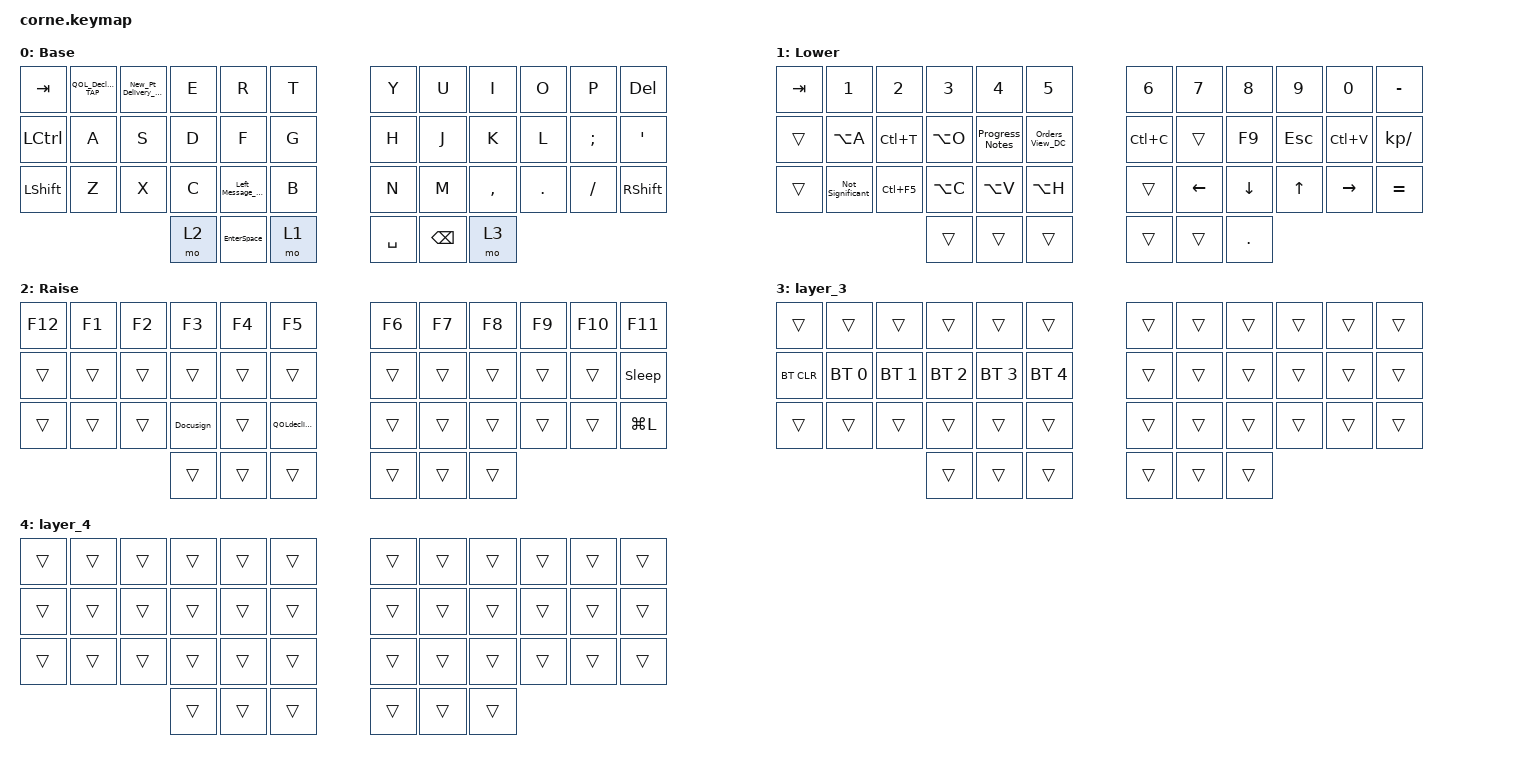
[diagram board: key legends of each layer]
/*
 * Copyright (c) 2020 The ZMK Contributors
 *
 * SPDX-License-Identifier: MIT
 */

#include <behaviors.dtsi>
#include <dt-bindings/zmk/bt.h>
#include <dt-bindings/zmk/keys.h>

/ {
    combos {
        compatible = "zmk,combos";

        ComboESC {
            bindings = <&kp ESCAPE>;
            key-positions = <2 4>;
        };

        Spoke_w_Pt_COMBO {
            bindings = <&Spoke_w_Patient>;
            key-positions = <2 38>;
            slow-release;
            timeout-ms = <10>;
        };

        screenshot {
            bindings = <&kp LG(LS(A))>;
            key-positions = <36 38>;
        };
    };

    macros {
        Left_Message: Left_Message {
            compatible = "zmk,behavior-macro";
            #binding-cells = <0>;
            bindings = <&kp LS(L) &kp E &kp F &kp T &kp SPACE &kp M &kp E &kp S &kp S &kp A &kp G &kp E &kp SPACE &kp F &kp O &kp R &kp SPACE &kp A &kp SPACE &kp C &kp A &kp L &kp L &kp SPACE &kp B &kp A &kp C &kp K &kp DOT &kp SPACE &kp LS(P) &kp R &kp O &kp V &kp I &kp D &kp E &kp D &kp SPACE &kp N8 &kp N0 &kp N0 &kp SPACE &kp C &kp A &kp L &kp L &kp SPACE &kp B &kp A &kp C &kp K &kp SPACE &kp N &kp U &kp M &kp B &kp E &kp R>;
            label = "LEFT_MESSAGE";
            wait-ms = <30>;
            tap-ms = <30>;
        };

        New_Patient_Del: New_Patient_Del {
            compatible = "zmk,behavior-macro";
            #binding-cells = <0>;
            bindings = <&kp LS(R) &kp E &kp V &kp I &kp E &kp W &kp E &kp D &kp SPACE &kp D &kp O &kp S &kp E &kp COMMA &kp SPACE &kp S &kp T &kp O &kp R &kp A &kp G &kp E &kp FSLH &kp H &kp A &kp N &kp D &kp L &kp I &kp N &kp G &kp COMMA &kp SPACE &kp C &kp O &kp M &kp M &kp O &kp N &kp SPACE &kp W &kp A &kp R &kp N &kp I &kp N &kp G &kp S &kp SPACE &kp AMPS &kp SPACE &kp S &kp I &kp D &kp E &kp SPACE &kp E &kp F &kp F &kp E &kp C &kp T &kp S &kp SPACE &kp D &kp U &kp R &kp I &kp N &kp G &kp SPACE &kp T &kp H &kp E &kp SPACE &kp C &kp A &kp L &kp L &kp DOT &kp LS(A) &kp D &kp V &kp I &kp S &kp E &kp D &kp SPACE &kp T &kp O &kp SPACE &kp F &kp O &kp L &kp L &kp O &kp W &kp SPACE &kp U &kp P &kp SPACE &kp W &kp I &kp T &kp H &kp SPACE &kp LS(M) &kp LS(D) &kp LS(O) &kp SPACE &kp O &kp N &kp C &kp E &kp SPACE &kp P &kp A &kp C &kp K &kp A &kp G &kp E &kp SPACE &kp A &kp R &kp R &kp I &kp V &kp E &kp S &kp DOT &kp SPACE>;
            label = "NEW_PATIENT_DEL";
            wait-ms = <45>;
            tap-ms = <30>;
        };

        SeeAssessment: SeeAssessment {
            compatible = "zmk,behavior-macro";
            #binding-cells = <0>;
            bindings = <&none &kp LS(S) &kp E &kp E &kp SPACE &kp A &kp S &kp S &kp E &kp S &kp S &kp M &kp E &kp N &kp T &kp LS(A)>;
            label = "SEEASSESSMENT";
            wait-ms = <30>;
            tap-ms = <30>;
        };

        QOLdeclined: QOLdeclined {
            compatible = "zmk,behavior-macro";
            #binding-cells = <0>;
            bindings = <&none &kp LS(P) &kp A &kp T &kp I &kp E &kp N &kp T &kp SPACE &kp D &kp E &kp C &kp L &kp I &kp N &kp E &kp D &kp SPACE &kp A &kp S &kp S &kp E &kp S &kp S &kp M &kp E &kp N &kp T &kp SPACE &kp A &kp N &kp D &kp SPACE &kp LS(Q) &kp LS(O) &kp LS(L) &kp S &kp SPACE &kp S &kp U &kp R &kp V &kp E &kp Y &kp SPACE &kp Q &kp U &kp E &kp S &kp T &kp I &kp O &kp N &kp S &kp SPACE &kp A &kp T &kp SPACE &kp T &kp H &kp I &kp S &kp SPACE &kp T &kp I &kp M &kp E &kp DOT &kp SPACE>;
            label = "QOLDECLINED";
            wait-ms = <30>;
            tap-ms = <30>;
        };

        Docusign: Docusign {
            compatible = "zmk,behavior-macro";
            #binding-cells = <0>;
            bindings = <&none &kp LS(P) &kp L &kp E &kp A &kp S &kp E &kp SPACE &kp R &kp E &kp V &kp I &kp E &kp W &kp SPACE &kp LS(B) &kp I &kp O &kp L &kp O &kp G &kp I &kp C &kp S &kp SPACE &kp LS(C) &kp A &kp R &kp E &kp G &kp I &kp V &kp E &kp R &kp SPACE &kp LS(C) &kp O &kp N &kp S &kp E &kp N &kp T &kp SPACE &kp F &kp O &kp R &kp M &kp DOT &kp SPACE &kp LS(S) &kp I &kp G &kp N &kp SPACE &kp A &kp N &kp D &kp SPACE &kp D &kp A &kp T &kp E &kp SPACE &kp W &kp H &kp E &kp N &kp SPACE &kp P &kp O &kp S &kp S &kp I &kp B &kp L &kp E &kp DOT &kp SPACE>;
            label = "DOCUSIGN";
            wait-ms = <30>;
            tap-ms = <30>;
        };

        Spoke_w_Patient: Spoke_w_Patient {
            compatible = "zmk,behavior-macro";
            #binding-cells = <0>;
            bindings = <&none &kp LS(S) &kp P &kp O &kp K &kp E &kp SPACE &kp W &kp I &kp T &kp H &kp SPACE &kp T &kp H &kp E &kp SPACE &kp P &kp A &kp T &kp I &kp E &kp N &kp T &kp SPACE &kp R &kp E &kp G &kp A &kp R &kp D &kp I &kp N &kp G &kp SPACE>;
            label = "SPOKE_W_PATIENT";
            wait-ms = <30>;
            tap-ms = <30>;
        };

        Not_Significant: Not_Significant {
            compatible = "zmk,behavior-macro";
            #binding-cells = <0>;
            bindings = <&none &kp N &kp O &kp N &kp E &kp SPACE &kp T &kp H &kp A &kp T &kp SPACE &kp I &kp S &kp SPACE &kp C &kp L &kp I &kp N &kp I &kp C &kp A &kp L &kp L &kp Y &kp SPACE &kp S &kp I &kp G &kp N &kp I &kp F &kp I &kp C &kp A &kp N &kp T>;
            label = "NOT_SIGNIFICANT";
            wait-ms = <30>;
            tap-ms = <30>;
        };

        Adding_Med: Adding_Med {
            compatible = "zmk,behavior-macro";
            #binding-cells = <0>;
            bindings = <&kp TAB &kp O &kp R &kp A &kp L &kp TAB &kp TAB &kp LC(V) &kp LC(F2)>;
            label = "ADDING_MED";
            wait-ms = <15>;
            tap-ms = <15>;
        };

        QOL_opt_out: QOL_Declined {
            compatible = "zmk,behavior-macro";
            #binding-cells = <0>;
            bindings = <&kp TAB &kp TAB &kp SPACE &kp TAB &kp SPACE &kp TAB &kp TAB &kp SPACE>;
            label = "QOL_DECLINED";
        };

        Sleep: Sleep {
            compatible = "zmk,behavior-macro";
            #binding-cells = <0>;
            bindings = <&kp LG(X) &kp U &kp S>;
            label = "SLEEP";
            wait-ms = <50>;
            tap-ms = <50>;
        };
    };

    behaviors {
        EnterSpace: EnterSpace {
            compatible = "zmk,behavior-tap-dance";
            label = "ENTERSPACE";
            #binding-cells = <0>;
            bindings = <&kp ENTER>, <&kp SPACE>;

            tapping-term-ms = <150>;
        };

        Left_Message_TAP: Left_Message_TAP {
            compatible = "zmk,behavior-tap-dance";
            label = "LEFT_MESSAGE_TAP";
            #binding-cells = <0>;
            bindings = <&kp V>, <&Left_Message>;

            tapping-term-ms = <150>;
        };

        New_Pt_Delivery_TAP: New_Pt_Delivery_TAP {
            compatible = "zmk,behavior-tap-dance";
            label = "NEW_PT_DELIVERY_TAP";
            #binding-cells = <0>;
            bindings = <&kp W>, <&New_Patient_Del>;

            tapping-term-ms = <150>;
        };

        QOL_Declined_TAP: QOL_Declined_TAP {
            compatible = "zmk,behavior-tap-dance";
            label = "QOL_DECLINED_TAP";
            #binding-cells = <0>;
            bindings = <&kp Q>, <&QOLdeclined>;

            tapping-term-ms = <150>;
        };

        Screen_Shot_TAP: Screen_Shot_TAP {
            compatible = "zmk,behavior-tap-dance";
            label = "SCREEN_SHOT_TAP";
            #binding-cells = <0>;
            bindings = <&mo 3>, <&kp LG(LS(S))>;

            tapping-term-ms = <150>;
        };

        Progress_Notes: Progress_Notes {
            compatible = "zmk,behavior-tap-dance";
            label = "PROGRESS_NOTES";
            #binding-cells = <0>;
            bindings = <&kp F>, <&kp F9>, <&kp LC(N)>;
        };

        Orders_View_DC: Orders_View_DC {
            compatible = "zmk,behavior-tap-dance";
            label = "ORDERS_VIEW_DC";
            #binding-cells = <0>;
            bindings = <&kp LA(I)>, <&kp SPACE>;
        };
    };

    keymap {
        compatible = "zmk,keymap";

        default_layer {
            // -----------------------------------------------------------------------------------------
            // |  TAB |  Q  |  W  |  E  |  R  |  T  |   |  Y  |  U   |  I  |  O  |  P  | BKSP |
            // | CTRL |  A  |  S  |  D  |  F  |  G  |   |  H  |  J   |  K  |  L  |  ;  |  '   |
            // | SHFT |  Z  |  X  |  C  |  V  |  B  |   |  N  |  M   |  ,  |  .  |  /  | ESC  |
            //                    | GUI | LWR | SPC |   | ENT | RSE  | ALT |

            label = "Base";
            bindings = <
&kp TAB    &QOL_Declined_TAP  &New_Pt_Delivery_TAP  &kp E  &kp R              &kp T    &kp Y      &kp U          &kp I      &kp O    &kp P     &kp DELETE
&kp LCTRL  &kp A              &kp S                 &kp D  &kp F              &kp G    &kp H      &kp J          &kp K      &kp L    &kp SEMI  &kp SQT
&kp LSHFT  &kp Z              &kp X                 &kp C  &Left_Message_TAP  &kp B    &kp N      &kp M          &kp COMMA  &kp DOT  &kp FSLH  &kp RIGHT_SHIFT
                                                    &mo 2  &EnterSpace        &mo 1    &kp SPACE  &kp BACKSPACE  &mo 3
            >;
        };

        lower_layer {
            // -----------------------------------------------------------------------------------------
            // |  TAB |  1  |  2  |  3  |  4  |  5  |   |  6  |  7  |  8  |  9  |  0  | BKSP |
            // | BTCLR| BT1 | BT2 | BT3 | BT4 | BT5 |   | LFT | DWN |  UP | RGT |     |      |
            // | SHFT |     |     |     |     |     |   |     |     |     |     |     |      |
            //                    | GUI |     | SPC |   | ENT |     | ALT |

            label = "Lower";
            bindings = <
&kp TAB  &kp N1            &kp N2      &kp N3     &kp N4           &kp N5             &kp N6     &kp N7          &kp N8          &kp N9        &kp N0           &kp MINUS
&trans   &kp LA(A)         &kp LC(T)   &kp LA(O)  &Progress_Notes  &Orders_View_DC    &kp LC(C)  &trans          &kp F9          &kp ESC       &kp LC(V)        &kp KP_DIVIDE
&trans   &Not_Significant  &kp LC(F5)  &kp LA(C)  &kp LA(V)        &kp LA(H)          &trans     &kp LEFT_ARROW  &kp DOWN_ARROW  &kp UP_ARROW  &kp RIGHT_ARROW  &kp EQUAL
                                       &trans     &trans           &trans             &trans     &trans          &kp PERIOD
            >;
        };

        raise_layer {
            // -----------------------------------------------------------------------------------------
            // |  TAB |  !  |  @  |  #  |  $  |  %  |   |  ^  |  &  |  *  |  (  |  )  | BKSP |
            // | CTRL |     |     |     |     |     |   |  -  |  =  |  [  |  ]  |  \  |  `   |
            // | SHFT |     |     |     |     |     |   |  _  |  +  |  {  |  }  | "|" |  ~   |
            //                    | GUI |     | SPC |   | ENT |     | ALT |

            label = "Raise";
            bindings = <
&kp F12  &kp F1  &kp F2  &kp F3     &kp F4  &kp F5          &kp F6  &kp F7  &kp F8  &kp F9  &kp F10  &kp F11
&trans   &trans  &trans  &trans     &trans  &trans          &trans  &trans  &trans  &trans  &trans   &Sleep
&trans   &trans  &trans  &Docusign  &trans  &QOLdeclined    &trans  &trans  &trans  &trans  &trans   &kp LG(L)
                         &trans     &trans  &trans          &trans  &trans  &trans
            >;
        };

        layer_3 {
            bindings = <
&trans      &trans        &trans        &trans        &trans        &trans          &trans  &trans  &trans  &trans  &trans  &trans
&bt BT_CLR  &bt BT_SEL 0  &bt BT_SEL 1  &bt BT_SEL 2  &bt BT_SEL 3  &bt BT_SEL 4    &trans  &trans  &trans  &trans  &trans  &trans
&trans      &trans        &trans        &trans        &trans        &trans          &trans  &trans  &trans  &trans  &trans  &trans
                                        &trans        &trans        &trans          &trans  &trans  &trans
            >;
        };

        layer_4 {
            bindings = <
&trans  &trans  &trans  &trans  &trans  &trans    &trans  &trans  &trans  &trans  &trans  &trans
&trans  &trans  &trans  &trans  &trans  &trans    &trans  &trans  &trans  &trans  &trans  &trans
&trans  &trans  &trans  &trans  &trans  &trans    &trans  &trans  &trans  &trans  &trans  &trans
                        &trans  &trans  &trans    &trans  &trans  &trans
            >;
        };
    };
};
